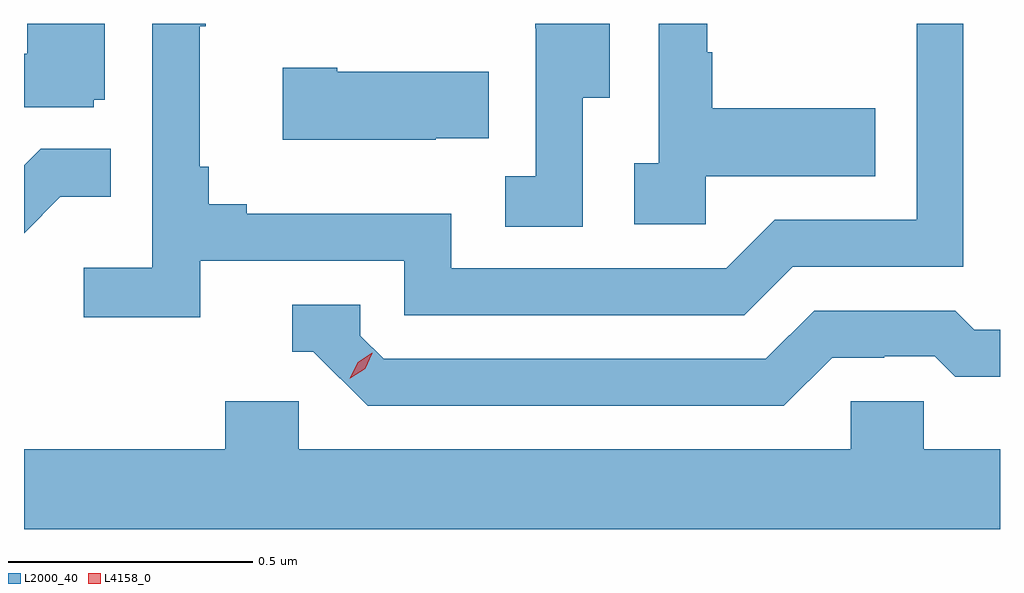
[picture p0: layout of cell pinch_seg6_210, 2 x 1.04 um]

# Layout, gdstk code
import gdstk
lib = gdstk.Library(unit=1e-6, precision=1e-09)
def P(c, l, *ps):  # polygons
    for p in ps: c.add(gdstk.Polygon(p, *l))
L2000_40 = (2000, 40)
L4158_0 = (4158, 0)

pinch_seg6_210 = lib.new_cell('pinch_seg6_210')
P(pinch_seg6_210, L2000_40, [(1054.586,919.914),(1055.004,919.914),(1055.004,919.803),(1055.701,919.803),(1055.8,919.902),(1056.15,919.902),(1056.15,920.4),(1056.054,920.4),(1056.054,919.998),(1055.763,919.998),(1055.664,919.899),(1055.1,919.899),(1055.1,920.011),(1054.681,920.011),(1054.681,920.03),(1054.604,920.03),(1054.604,920.107),(1054.585,920.107),(1054.585,920.395),(1054.597,920.395),(1054.597,920.4),(1054.488,920.4),(1054.488,919.9),(1054.347,919.9),(1054.347,919.798),(1054.586,919.798)],
  [(1054.368,920.244),(1054.39,920.244),(1054.39,920.4),(1054.232,920.4),(1054.232,920.338),(1054.225,920.338),(1054.225,920.229),(1054.368,920.229)],
  [(1055.622,920.087),(1055.969,920.087),(1055.969,920.227),(1055.635,920.227),(1055.635,920.342),(1055.625,920.342),(1055.625,920.4),(1055.526,920.4),(1055.526,920.114),(1055.475,920.114),(1055.475,919.989),(1055.622,919.989)],
  [(1055.37,920.248),(1055.425,920.248),(1055.425,920.4),(1055.273,920.4),(1055.273,920.391),(1055.274,920.391),(1055.274,920.087),(1055.211,920.087),(1055.211,919.984),(1055.37,919.984)],
  [(1055.069,920.165),(1055.177,920.165),(1055.177,920.302),(1054.867,920.302),(1054.867,920.31),(1054.755,920.31),(1054.755,920.162),(1055.069,920.162)],
  [(1054.299,920.045),(1054.403,920.045),(1054.403,920.144),(1054.259,920.144),(1054.225,920.11),(1054.225,919.971)],
  [(1055.881,919.716),(1055.988,919.716),(1055.988,919.719),(1056.091,919.719),(1056.133,919.677),(1056.225,919.677),(1056.225,919.773),(1056.172,919.773),(1056.133,919.812),(1055.844,919.812),(1055.745,919.713),(1054.962,919.713),(1054.914,919.761),(1054.914,919.824),(1054.775,919.824),(1054.775,919.728),(1054.818,919.728),(1054.929,919.617),(1055.782,919.617)],
  [(1056.225,919.528),(1056.069,919.528),(1056.069,919.626),(1055.919,919.626),(1055.919,919.528),(1054.788,919.528),(1054.788,919.626),(1054.637,919.626),(1054.637,919.528),(1054.225,919.528),(1054.225,919.364),(1056.225,919.364)])
P(pinch_seg6_210, L4158_0, [(1054.893,919.673),(1054.893,919.673),(1054.909,919.706),(1054.939,919.726),(1054.939,919.726),(1054.939,919.725),(1054.924,919.693),(1054.894,919.673)])

lib.write_gds('pinch_seg6_210.gds')
